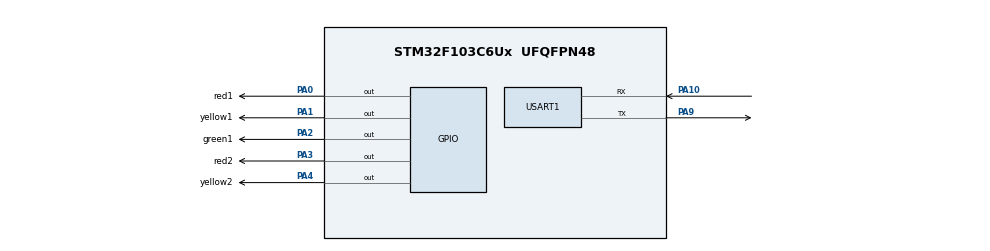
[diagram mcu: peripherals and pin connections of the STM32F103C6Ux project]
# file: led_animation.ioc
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Mcu.Family=STM32F1
Mcu.Name=STM32F103C6Ux
Mcu.Package=UFQFPN48
NVIC.PriorityGroup=NVIC_PRIORITYGROUP_4
NVIC.TIM2_IRQn=true\:0\:0\:false\:false\:true\:true\:true
PA0-WKUP.GPIO_Label=red1
PA0-WKUP.Signal=GPIO_Output
PA1.GPIO_Label=yellow1
PA1.Signal=GPIO_Output
PA10.Mode=Asynchronous
PA10.Signal=USART1_RX
PA2.GPIO_Label=green1
PA2.Signal=GPIO_Output
PA3.GPIO_Label=red2
PA3.Signal=GPIO_Output
PA4.GPIO_Label=yellow2
PA4.Signal=GPIO_Output
PA9.Mode=Asynchronous
PA9.Signal=USART1_TX
ProjectManager.HeapSize=0x200
ProjectManager.StackSize=0x400
ProjectManager.TargetToolchain=STM32CubeIDE
RCC.APB1Freq_Value=8000000
RCC.APB2Freq_Value=8000000
TIM2.Period=9
TIM2.Prescaler=7999
USART1.VirtualMode=VM_ASYNC
VP_SYS_VS_ND.Mode=No_Debug
VP_TIM2_VS_ClockSourceINT.Mode=Internal
board=custom

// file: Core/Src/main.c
/* USER CODE BEGIN Header */
/**
  ******************************************************************************
  * @file           : main.c
  * @brief          : Main program body
  ******************************************************************************
  * @attention
  *
  * <h2><center>&copy; Copyright (c) 2022 STMicroelectronics.
  * All rights reserved.</center></h2>
  *
  * This software component is licensed by ST under BSD 3-Clause license,
  * the "License"; You may not use this file except in compliance with the
  * License. You may obtain a copy of the License at:
  *                        opensource.org/licenses/BSD-3-Clause
  *
  ******************************************************************************
  */
/* USER CODE END Header */
#include "main.h"

/* USER CODE BEGIN Includes */
#include "timer.h"
#include "global.h"
#include "button.h"
#include "fsm_automatic.h"
#include "scheduler.h"

/* USER CODE END Includes */

TIM_HandleTypeDef htim2;

//UART_HandleTypeDef huart1;

void SystemClock_Config(void);
static void MX_GPIO_Init(void);
static void MX_TIM2_Init(void);
//static void MX_USART1_UART_Init(void);

/* USER CODE BEGIN 0 */

void led1test(){
	HAL_GPIO_TogglePin(red1_GPIO_Port, red1_Pin);
}
void led2test(){
	HAL_GPIO_TogglePin(yellow1_GPIO_Port, yellow1_Pin);
}
void led3test(){
	HAL_GPIO_TogglePin(green1_GPIO_Port, green1_Pin);
}
void led4test(){
	HAL_GPIO_TogglePin(red2_GPIO_Port, red2_Pin);
}
void led5test(){
	HAL_GPIO_TogglePin(yellow2_GPIO_Port, yellow2_Pin);
}

/* USER CODE END 0 */

int main(void)
{

  /* MCU Configuration--------------------------------------------------------*/

  /* Reset of all peripherals, Initializes the Flash interface and the Systick. */
  HAL_Init();

  /* Configure the system clock */
  SystemClock_Config();

  /* Initialize all configured peripherals */
  MX_GPIO_Init();
  MX_TIM2_Init();
  MX_USART1_UART_Init();
  /* USER CODE BEGIN 2 */
  HAL_TIM_Base_Start_IT(&htim2);

  /* USER CODE END 2 */

  /* Infinite loop */
  /* USER CODE BEGIN WHILE */
  SCH_Init();
  SCH_Add_Task(led1test, 100, 50);
  SCH_Add_Task(led2test, 100, 100);
  SCH_Add_Task(led5test, 250, 0);
  SCH_Add_Task(led3test, 100, 150);
  SCH_Add_Task(led4test, 100, 200);
  while (1)
  {
	  SCH_Dispatch_Tasks();

    /* USER CODE END WHILE */

  }
}

void SystemClock_Config(void)
{
  RCC_OscInitTypeDef RCC_OscInitStruct = {0};
  RCC_ClkInitTypeDef RCC_ClkInitStruct = {0};

  /** Initializes the RCC Oscillators according to the specified parameters
  * in the RCC_OscInitTypeDef structure.
  */
  RCC_OscInitStruct.OscillatorType = RCC_OSCILLATORTYPE_HSI;
  RCC_OscInitStruct.HSIState = RCC_HSI_ON;
  RCC_OscInitStruct.HSICalibrationValue = RCC_HSICALIBRATION_DEFAULT;
  RCC_OscInitStruct.PLL.PLLState = RCC_PLL_NONE;
  if (HAL_RCC_OscConfig(&RCC_OscInitStruct) != HAL_OK)
  {
    Error_Handler();
  }
  /** Initializes the CPU, AHB and APB buses clocks
  */
  RCC_ClkInitStruct.ClockType = RCC_CLOCKTYPE_HCLK|RCC_CLOCKTYPE_SYSCLK
                              |RCC_CLOCKTYPE_PCLK1|RCC_CLOCKTYPE_PCLK2;
  RCC_ClkInitStruct.SYSCLKSource = RCC_SYSCLKSOURCE_HSI;
  RCC_ClkInitStruct.AHBCLKDivider = RCC_SYSCLK_DIV1;
  RCC_ClkInitStruct.APB1CLKDivider = RCC_HCLK_DIV1;
  RCC_ClkInitStruct.APB2CLKDivider = RCC_HCLK_DIV1;

  if (HAL_RCC_ClockConfig(&RCC_ClkInitStruct, FLASH_LATENCY_0) != HAL_OK)
  {
    Error_Handler();
  }
}

static void MX_TIM2_Init(void)
{

  TIM_ClockConfigTypeDef sClockSourceConfig = {0};
  TIM_MasterConfigTypeDef sMasterConfig = {0};

  htim2.Instance = TIM2;
  htim2.Init.Prescaler = 7999;
  htim2.Init.CounterMode = TIM_COUNTERMODE_UP;
  htim2.Init.Period = 9;
  htim2.Init.ClockDivision = TIM_CLOCKDIVISION_DIV1;
  htim2.Init.AutoReloadPreload = TIM_AUTORELOAD_PRELOAD_DISABLE;
  if (HAL_TIM_Base_Init(&htim2) != HAL_OK)
  {
    Error_Handler();
  }
  sClockSourceConfig.ClockSource = TIM_CLOCKSOURCE_INTERNAL;
  if (HAL_TIM_ConfigClockSource(&htim2, &sClockSourceConfig) != HAL_OK)
  {
    Error_Handler();
  }
  sMasterConfig.MasterOutputTrigger = TIM_TRGO_RESET;
  sMasterConfig.MasterSlaveMode = TIM_MASTERSLAVEMODE_DISABLE;
  if (HAL_TIMEx_MasterConfigSynchronization(&htim2, &sMasterConfig) != HAL_OK)
  {
    Error_Handler();
  }

}

static void MX_GPIO_Init(void)
{
  GPIO_InitTypeDef GPIO_InitStruct = {0};

  /* GPIO Ports Clock Enable */
  __HAL_RCC_GPIOA_CLK_ENABLE();

  /*Configure GPIO pin Output Level */
  HAL_GPIO_WritePin(GPIOA, red1_Pin|yellow1_Pin|green1_Pin|red2_Pin
                          |yellow2_Pin, GPIO_PIN_RESET);

  /*Configure GPIO pins : red1_Pin yellow1_Pin green1_Pin red2_Pin
                           yellow2_Pin */
  GPIO_InitStruct.Pin = red1_Pin|yellow1_Pin|green1_Pin|red2_Pin
                          |yellow2_Pin;
  GPIO_InitStruct.Mode = GPIO_MODE_OUTPUT_PP;
  GPIO_InitStruct.Pull = GPIO_NOPULL;
  GPIO_InitStruct.Speed = GPIO_SPEED_FREQ_LOW;
  HAL_GPIO_Init(GPIOA, &GPIO_InitStruct);

}

/* USER CODE BEGIN 4 */

void HAL_TIM_PeriodElapsedCallback(TIM_HandleTypeDef *htim)
{
	SCH_Update();

}

/* USER CODE END 4 */

void Error_Handler(void)
{
  __disable_irq();
  while (1)
  {
  }
}

/************************ (C) COPYRIGHT STMicroelectronics *****END OF FILE****/
